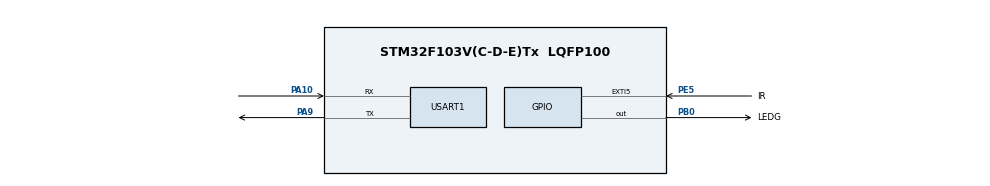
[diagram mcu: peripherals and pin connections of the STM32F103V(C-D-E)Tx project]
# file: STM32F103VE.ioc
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Dma.Request0=USART1_RX
Dma.USART1_RX.0.Direction=DMA_PERIPH_TO_MEMORY
Dma.USART1_RX.0.Instance=DMA1_Channel5
Dma.USART1_RX.0.MemDataAlignment=DMA_MDATAALIGN_BYTE
Dma.USART1_RX.0.MemInc=DMA_MINC_ENABLE
Dma.USART1_RX.0.Mode=DMA_CIRCULAR
Dma.USART1_RX.0.PeriphDataAlignment=DMA_PDATAALIGN_BYTE
Dma.USART1_RX.0.PeriphInc=DMA_PINC_DISABLE
Dma.USART1_RX.0.Priority=DMA_PRIORITY_LOW
Mcu.Family=STM32F1
Mcu.Name=STM32F103V(C-D-E)Tx
Mcu.Package=LQFP100
NVIC.DMA1_Channel5_IRQn=true\:0\:0\:false\:false\:true\:false\:true\:true
NVIC.EXTI9_5_IRQn=true\:0\:0\:false\:false\:true\:true\:true\:true
NVIC.PriorityGroup=NVIC_PRIORITYGROUP_4
NVIC.TIM3_IRQn=true\:0\:0\:false\:false\:true\:true\:true\:true
NVIC.USART1_IRQn=true\:0\:0\:false\:false\:true\:true\:true\:true
PA10.Mode=Asynchronous
PA10.Signal=USART1_RX
PA13.Mode=Serial_Wire
PA13.Signal=SYS_JTMS-SWDIO
PA14.Mode=Serial_Wire
PA14.Signal=SYS_JTCK-SWCLK
PA9.Mode=Asynchronous
PA9.Signal=USART1_TX
PB0.GPIO_Label=LEDG
PB0.GPIO_PuPd=GPIO_PULLUP
PB0.Signal=GPIO_Output
PE5.GPIO_Label=IR
PE5.GPIO_ModeDefaultEXTI=GPIO_MODE_IT_FALLING
PE5.GPIO_PuPd=GPIO_PULLUP
PE5.Signal=GPXTI5
ProjectManager.HeapSize=0x200
ProjectManager.StackSize=0x400
ProjectManager.TargetToolchain=MDK-ARM V5.32
RCC.APB1Freq_Value=8000000
RCC.APB2Freq_Value=8000000
TIM3.Period=280-1
TIM3.Prescaler=8-1
USART1.VirtualMode=VM_ASYNC
VP_TIM3_VS_ClockSourceINT.Mode=Internal
board=custom

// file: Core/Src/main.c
/* USER CODE BEGIN Header */
/**
  ******************************************************************************
  * @file           : main.c
  * @brief          : Main program body
  ******************************************************************************
  * @attention
  *
  * Copyright (c) 2023 STMicroelectronics.
  * All rights reserved.
  *
  * This software is licensed under terms that can be found in the LICENSE file
  * in the root directory of this software component.
  * If no LICENSE file comes with this software, it is provided AS-IS.
  *
  ******************************************************************************
  */
/* USER CODE END Header */
#include "main.h"
#include "dma.h"
#include "tim.h"
#include "usart.h"
#include "gpio.h"

/* USER CODE BEGIN Includes */
#include "../common.h"
/* USER CODE END Includes */

void SystemClock_Config(void);

int main(void)
{

  /* MCU Configuration--------------------------------------------------------*/

  /* Reset of all peripherals, Initializes the Flash interface and the Systick. */
  HAL_Init();

  /* Configure the system clock */
  SystemClock_Config();

  /* Initialize all configured peripherals */
  MX_GPIO_Init();
  MX_DMA_Init();
  MX_USART1_UART_Init();
  MX_TIM3_Init();
  /* USER CODE BEGIN 2 */
	LEDG_OFF();
	HAL_TIM_Base_Start_IT( &htim3 );
	//HAL_TIM_Base_Stop( &htim3 );
	HAL_TIM_Base_Start( &htim3 );
	 __HAL_TIM_SET_COUNTER( &htim3, 0 );

  /* USER CODE END 2 */

  /* Infinite loop */
  while (1)
  {
	if ( ir_str.rxDr != 0 ) {
		ir_str.rxDr = 0;
		if ( ri_data_parse() == 0 ) {
			printf("接收到用户码: 0x%.2X 0x%.2X  ", ir_str.irData[0], ir_str.irData[1]);
			printf("接收到键值码: 0x%.2X 0x%.2X\r\n", ir_str.irData[2], ir_str.irData[3]);
		}
	}
  }
}

void SystemClock_Config(void)
{
  RCC_OscInitTypeDef RCC_OscInitStruct = {0};
  RCC_ClkInitTypeDef RCC_ClkInitStruct = {0};

  /** Initializes the RCC Oscillators according to the specified parameters
  * in the RCC_OscInitTypeDef structure.
  */
  RCC_OscInitStruct.OscillatorType = RCC_OSCILLATORTYPE_HSI;
  RCC_OscInitStruct.HSIState = RCC_HSI_ON;
  RCC_OscInitStruct.HSICalibrationValue = RCC_HSICALIBRATION_DEFAULT;
  RCC_OscInitStruct.PLL.PLLState = RCC_PLL_NONE;
  if (HAL_RCC_OscConfig(&RCC_OscInitStruct) != HAL_OK)
  {
    Error_Handler();
  }

  /** Initializes the CPU, AHB and APB buses clocks
  */
  RCC_ClkInitStruct.ClockType = RCC_CLOCKTYPE_HCLK|RCC_CLOCKTYPE_SYSCLK
                              |RCC_CLOCKTYPE_PCLK1|RCC_CLOCKTYPE_PCLK2;
  RCC_ClkInitStruct.SYSCLKSource = RCC_SYSCLKSOURCE_HSI;
  RCC_ClkInitStruct.AHBCLKDivider = RCC_SYSCLK_DIV1;
  RCC_ClkInitStruct.APB1CLKDivider = RCC_HCLK_DIV1;
  RCC_ClkInitStruct.APB2CLKDivider = RCC_HCLK_DIV1;

  if (HAL_RCC_ClockConfig(&RCC_ClkInitStruct, FLASH_LATENCY_0) != HAL_OK)
  {
    Error_Handler();
  }
}

/* USER CODE BEGIN 4 */
void HAL_GPIO_EXTI_Callback ( uint16_t GPIO_Pin ) {
	static uint8_t idx;
	//采用280us中断一次 https://zhuanlan.zhihu.com/p/532388873
	//NEC协议 引导码：低9ms(38Khz载波)~高4.5ms(空) -> 8000~10000us + 4000~5000us  最短12000us(42次中断) 最长15000us(54次中断)
	//逻辑“1”：低560us(38Khz载波) + 高1680us(空) = 2.24ms (8次中断)
	//逻辑“0”：低560us(38Khz载波) + 高560us(空) = 1.12ms (4次中断)
	//printf("..%d\r\n", ir_str.count);
	if ( ir_str.startFlag != 0 && (idx<32)) {
		ir_str.irBitData[idx] = ir_str.count;
		__HAL_TIM_SET_COUNTER( &htim3, 0 );
		idx++;
		if ( idx >= 32 ) {
			ir_str.startFlag = 0;//解码结束
			idx = 0;
			ir_str.rxDr = 1;//一帧数据接收完毕
		}
	}
	if ( ir_str.count>=42 && ir_str.count<=54 && !ir_str.rxDr ) {//引导码
		//printf("解码开始\r\n");
		ir_str.startFlag = 1;//解码开始
		idx = 0;
		__HAL_TIM_SET_COUNTER( &htim3, 0 );
	}
	ir_str.count = 0;
}

void HAL_TIM_PeriodElapsedCallback ( TIM_HandleTypeDef *htim ) {
	if ( htim == &htim3 ) {
		ir_str.count++;
	}
}

/* USER CODE END 4 */

void Error_Handler(void)
{
  __disable_irq();
  while (1)
  {
  }
}
